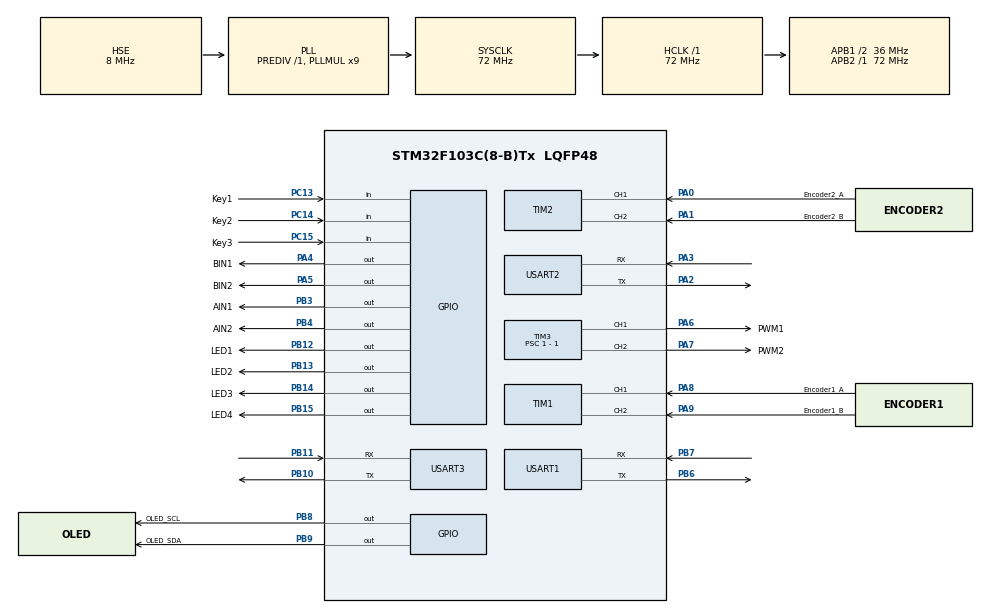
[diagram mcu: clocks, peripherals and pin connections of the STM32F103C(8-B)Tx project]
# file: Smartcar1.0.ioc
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Dma.Request0=USART3_TX
Dma.Request1=USART2_RX
Dma.USART2_RX.1.Direction=DMA_PERIPH_TO_MEMORY
Dma.USART2_RX.1.Instance=DMA1_Channel6
Dma.USART2_RX.1.MemDataAlignment=DMA_MDATAALIGN_BYTE
Dma.USART2_RX.1.MemInc=DMA_MINC_ENABLE
Dma.USART2_RX.1.Mode=DMA_CIRCULAR
Dma.USART2_RX.1.PeriphDataAlignment=DMA_PDATAALIGN_BYTE
Dma.USART2_RX.1.PeriphInc=DMA_PINC_DISABLE
Dma.USART2_RX.1.Priority=DMA_PRIORITY_VERY_HIGH
Dma.USART3_TX.0.Direction=DMA_MEMORY_TO_PERIPH
Dma.USART3_TX.0.Instance=DMA1_Channel2
Dma.USART3_TX.0.MemDataAlignment=DMA_MDATAALIGN_BYTE
Dma.USART3_TX.0.MemInc=DMA_MINC_ENABLE
Dma.USART3_TX.0.Mode=DMA_NORMAL
Dma.USART3_TX.0.PeriphDataAlignment=DMA_PDATAALIGN_BYTE
Dma.USART3_TX.0.PeriphInc=DMA_PINC_DISABLE
Dma.USART3_TX.0.Priority=DMA_PRIORITY_MEDIUM
Mcu.Family=STM32F1
Mcu.Name=STM32F103C(8-B)Tx
Mcu.Package=LQFP48
NVIC.DMA1_Channel2_IRQn=true\:0\:0\:false\:false\:true\:false\:true\:true
NVIC.DMA1_Channel6_IRQn=true\:0\:0\:false\:false\:true\:false\:true\:true
NVIC.PriorityGroup=NVIC_PRIORITYGROUP_4
NVIC.TIM4_IRQn=true\:1\:0\:true\:false\:true\:true\:true\:true
NVIC.USART1_IRQn=true\:1\:0\:true\:false\:true\:true\:true\:true
NVIC.USART2_IRQn=true\:1\:0\:true\:false\:true\:true\:true\:true
NVIC.USART3_IRQn=true\:1\:0\:true\:false\:true\:true\:true\:true
PA0-WKUP.GPIO_Label=Encoder2_A
PA0-WKUP.Signal=S_TIM2_CH1_ETR
PA1.GPIO_Label=Encoder2_B
PA1.Signal=S_TIM2_CH2
PA13.Mode=Serial_Wire
PA13.Signal=SYS_JTMS-SWDIO
PA14.Mode=Serial_Wire
PA14.Signal=SYS_JTCK-SWCLK
PA2.Mode=Asynchronous
PA2.Signal=USART2_TX
PA3.Mode=Asynchronous
PA3.Signal=USART2_RX
PA3.Stacked=true
PA4.GPIO_Label=BIN1
PA4.Signal=GPIO_Output
PA5.GPIO_Label=BIN2
PA5.Signal=GPIO_Output
PA6.GPIO_Label=PWM1
PA6.Signal=S_TIM3_CH1
PA7.GPIO_Label=PWM2
PA7.Signal=S_TIM3_CH2
PA8.GPIO_Label=Encoder1_A
PA8.Signal=S_TIM1_CH1
PA9.GPIO_Label=Encoder1_B
PA9.Signal=S_TIM1_CH2
PB10.Mode=Asynchronous
PB10.Signal=USART3_TX
PB11.Mode=Asynchronous
PB11.Signal=USART3_RX
PB12.GPIO_Label=LED1
PB12.GPIO_PuPd=GPIO_PULLUP
PB12.PinState=GPIO_PIN_SET
PB12.Signal=GPIO_Output
PB13.GPIO_Label=LED2
PB13.GPIO_PuPd=GPIO_PULLUP
PB13.PinState=GPIO_PIN_SET
PB13.Signal=GPIO_Output
PB14.GPIO_Label=LED3
PB14.GPIO_PuPd=GPIO_PULLUP
PB14.PinState=GPIO_PIN_SET
PB14.Signal=GPIO_Output
PB15.GPIO_Label=LED4
PB15.GPIO_PuPd=GPIO_PULLUP
PB15.PinState=GPIO_PIN_SET
PB15.Signal=GPIO_Output
PB3.GPIO_Label=AIN1
PB3.Signal=GPIO_Output
PB4.GPIO_Label=AIN2
PB4.Signal=GPIO_Output
PB6.Mode=Asynchronous
PB6.Signal=USART1_TX
PB7.Mode=Asynchronous
PB7.Signal=USART1_RX
PB8.GPIO_Label=OLED_SCL
PB8.GPIO_ModeDefaultOutputPP=GPIO_MODE_OUTPUT_OD
PB8.GPIO_PuPd=GPIO_PULLUP
PB8.GPIO_Speed=GPIO_SPEED_FREQ_HIGH
PB8.Signal=GPIO_Output
PB9.GPIO_Label=OLED_SDA
PB9.GPIO_ModeDefaultOutputPP=GPIO_MODE_OUTPUT_OD
PB9.GPIO_PuPd=GPIO_PULLUP
PB9.GPIO_Speed=GPIO_SPEED_FREQ_HIGH
PB9.Signal=GPIO_Output
PC13-TAMPER-RTC.GPIO_Label=Key1
PC13-TAMPER-RTC.GPIO_PuPd=GPIO_PULLUP
PC13-TAMPER-RTC.Signal=GPIO_Input
PC14-OSC32_IN.GPIO_Label=Key2
PC14-OSC32_IN.GPIO_PuPd=GPIO_PULLUP
PC14-OSC32_IN.Signal=GPIO_Input
PC15-OSC32_OUT.GPIO_Label=Key3
PC15-OSC32_OUT.GPIO_PuPd=GPIO_PULLUP
PC15-OSC32_OUT.Signal=GPIO_Input
PD0-OSC_IN.Mode=HSE-External-Oscillator
PD0-OSC_IN.Signal=RCC_OSC_IN
PD1-OSC_OUT.Mode=HSE-External-Oscillator
PD1-OSC_OUT.Signal=RCC_OSC_OUT
ProjectManager.HeapSize=0x200
ProjectManager.StackSize=0x400
ProjectManager.TargetToolchain=CMake
RCC.AHBFreq_Value=72000000
RCC.APB1CLKDivider=RCC_HCLK_DIV2
RCC.APB1Freq_Value=36000000
RCC.APB1TimFreq_Value=72000000
RCC.APB2Freq_Value=72000000
RCC.APB2TimFreq_Value=72000000
RCC.HCLKFreq_Value=72000000
RCC.PLLMUL=RCC_PLL_MUL9
RCC.PLLSourceVirtual=RCC_PLLSOURCE_HSE
RCC.SYSCLKFreq_VALUE=72000000
RCC.SYSCLKSource=RCC_SYSCLKSOURCE_PLLCLK
RCC.USBFreq_Value=72000000
SH.S_TIM1_CH1.0=TIM1_CH1,Encoder_Interface
SH.S_TIM1_CH2.0=TIM1_CH2,Encoder_Interface
SH.S_TIM2_CH1_ETR.0=TIM2_CH1,Encoder_Interface
SH.S_TIM2_CH2.0=TIM2_CH2,Encoder_Interface
SH.S_TIM3_CH1.0=TIM3_CH1,PWM Generation1 CH1
SH.S_TIM3_CH2.0=TIM3_CH2,PWM Generation2 CH2
TIM1.AutoReloadPreload=TIM_AUTORELOAD_PRELOAD_DISABLE
TIM1.EncoderMode=TIM_ENCODERMODE_TI12
TIM1.IC1Filter=6
TIM1.IC2Filter=6
TIM2.EncoderMode=TIM_ENCODERMODE_TI12
TIM2.IC1Filter=6
TIM2.IC2Filter=6
TIM3.AutoReloadPreload=TIM_AUTORELOAD_PRELOAD_ENABLE
TIM3.Channel-PWM\ Generation1\ CH1=TIM_CHANNEL_1
TIM3.Channel-PWM\ Generation2\ CH2=TIM_CHANNEL_2
TIM3.Period=7200 - 1
TIM3.Prescaler=1 - 1
TIM4.Period=10000 -1
TIM4.Prescaler=72 - 1
USART1.VirtualMode=VM_ASYNC
USART2.VirtualMode=VM_ASYNC
USART3.VirtualMode=VM_ASYNC
VP_TIM3_VS_ClockSourceINT.Mode=Internal
VP_TIM4_VS_ClockSourceINT.Mode=Internal
board=custom

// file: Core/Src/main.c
/* USER CODE BEGIN Header */
/**
  ******************************************************************************
  * @file           : main.c
  * @brief          : Main program body
  ******************************************************************************
  * @attention
  *
  * Copyright (c) 2025 STMicroelectronics.
  * All rights reserved.
  *
  * This software is licensed under terms that can be found in the LICENSE file
  * in the root directory of this software component.
  * If no LICENSE file comes with this software, it is provided AS-IS.
  *
  ******************************************************************************
  */
/* USER CODE END Header */
#include "main.h"
#include "dma.h"
#include "tim.h"
#include "usart.h"
#include "gpio.h"

/* USER CODE BEGIN Includes */
#include "OLED.h"
#include "motor.h"
#include "gimbal_driver.h"
#include "k230_uart.h"
#include "jy62.h"
#include "position_control.h"
/* USER CODE END Includes */

/* USER CODE BEGIN PV */
uint16_t Key_flag;
uint16_t Key_status;
int16_t EncoderL,EncoderR;
extern volatile float yaw_angle;
extern int speedL,speedR;
extern int pwmL,pwmR;
int16_t MV_data_1 = 0;
int16_t MV_data_2 = 0;
int16_t MV_data_3 = 0;
int16_t MV_data_4 = 0;
int16_t MV_data_5 = 0;
int16_t MV_data_6 = 0;
int16_t MV_data_7 = 0;
extern volatile uint32_t timer_flag;
extern volatile uint32_t timer_flag2;
/* USER CODE BEGIN PV */
// 这里只能定义变量，不能调用函数！
volatile float pan_output = 0.0f;
volatile float tilt_output = 0.0f;
/* USER CODE END PV */

/* USER CODE END PV */

void SystemClock_Config(void);

/* USER CODE BEGIN 0 */
int base_pwm = 1100;
int line_angle = 0;
int mission_flag = 0;
extern volatile uint8_t turn_success_flag;
extern LED_State_t led_state;
int16_t turnflag = 0;
typedef enum {
    TASK_IDLE = 0,          // 空闲状态
    TASK_FIRST_MOVE = 1,    // 第一段移动中
    TASK_TURNING = 2,       // 转向中
    TASK_SECOND_MOVE = 3,   // 第二段移动中
    TASK_COMPLETED = 4,      // 全部任务完成
    TASK_THIRD_MOVE = 5,
    TASK_FORTH_MOVE = 6
} Task_Stage_t;
Task_Stage_t task_stage =TASK_IDLE;
int turning_stable_counter = 0;
int target_turn_angle = 0;
#define TURN_STABLE_TIME 5  // N*10ms ms稳定时间

int direction_flag = 0;
/* USER CODE END 0 */

int main(void)
{

  /* MCU Configuration--------------------------------------------------------*/

  /* Reset of all peripherals, Initializes the Flash interface and the Systick. */
  HAL_Init();

  /* Configure the system clock */
  SystemClock_Config();

  /* Initialize all configured peripherals */
  MX_GPIO_Init();
  MX_DMA_Init();
  MX_TIM3_Init();
  MX_TIM1_Init();
  MX_TIM2_Init();
  MX_TIM4_Init();
  MX_USART1_UART_Init();
  MX_USART2_UART_Init();
  MX_USART3_UART_Init();
  /* USER CODE BEGIN 2 */
  JY62_UART4_Init();//初始化JY62
  OLED_Init();//OLED初始化+清屏幕
  OLED_Clear();
  position_control_init();

  HAL_Delay(500);//等待陀螺仪初始化成功
  reset_turn_flag();
  K230_UART_Init(); // 初始化 K230 UART DMA 接收
  /* USER CODE END 2 */

  /* Infinite loop */
  /* USER CODE BEGIN WHILE */
  while (1)
  {
    K230_UART_Poll(); // 处理K230数据
    if (k230_data.is_updated) {
        // 显示有符号数（适配负数
        // 当收到新数据时，才进行 PID 计算，并把结果存入全局变量
        pan_output = PID_Compute(&pan_pid, k230_data.pan_error);
        tilt_output = PID_Compute(&tilt_pid, k230_data.tilt_error);
        OLED_ShowString(0, 0, "x:", OLED_8X16);
        OLED_ShowSignedNum(16, 0, k230_data.pan_error, 3, OLED_8X16);
        OLED_ShowString(64, 0, "y:", OLED_8X16);
        OLED_ShowSignedNum(80, 0,k230_data.tilt_error, 3, OLED_8X16);
        k230_data.is_updated = 0; // 重置更新标志
        Gimbal_Run_Signed(GIMBAL_LOWER_ADDR, pan_output);
        Gimbal_Run_Signed(GIMBAL_UPPER_ADDR, tilt_output);
    }

    OLED_ShowFloatNum(0, 18, pan_output, 3,2,OLED_8X16);
    OLED_ShowFloatNum(0, 36, tilt_output, 3, 2, OLED_8X16);
    OLED_Update();//显示任何东西都需要更新OLED数据，不然无法显示

  //   if(Key_status == 1 && task_stage == TASK_IDLE){
  //       timer_flag = 0;
  //       set_target_distance(1480);  // 第一段移动
  //       task_stage = TASK_FIRST_MOVE;  // 进入第一段移动状态
  //       Key_status = 0;
  //   }
  //   if(timer_flag == 1 && MV_data_1!=0){
  //     if(direction_flag == 0){
  //       direction_flag = MV_data_1;
  //     }
  //     switch(task_stage) {
  //     case TASK_FIRST_MOVE:
  //         led_state = LED_FAST_BLINK;
  //         if(position_state == POSITION_COMPLETED){
  //             // 第一段移动完成，准备转向
  //             task_stage = TASK_TURNING;
  //             reset_turn_flag();  // 重置转向标志
  //             turning_stable_counter = 0;
  //             // 停止位置环控制
  //             position_control_enable = 0;
  //             // 设置转向目标角度
  //             if(direction_flag == 1){target_turn_angle = -60;}//左
  //             if(direction_flag == 2){target_turn_angle = -90;}//中
  //             if(direction_flag == 3){target_turn_angle = -120;}//右
  //             turnflag = 2;
  //         }
  //         break;

  //     case TASK_TURNING:
  //         // 执行转向控制
  //         led_state = LED_ON;
  //         turn_angle(target_turn_angle);
  //         // 检查转向是否成功
  //         if(turn_success_flag == 1) {
  //             // 转向成功，开始计时稳定
  //             turning_stable_counter++;

  //             // 稳定期间保持当前角度
  //             if(turning_stable_counter >= TURN_STABLE_TIME) {
  //                 // 稳定时间足够，进入下一阶段
  //                 led_state = LED_SLOW_BLINK;
  //                 switch (turnflag)
  //                 {
  //                     case 2:
  //                       task_stage = TASK_SECOND_MOVE;
  //                       if(direction_flag == 1){
  //                         line_angle = -60;
  //                         set_target_distance(1700);
  //                       }//左
  //                       if(direction_flag == 2){
  //                         line_angle = -90;
  //                         set_target_distance(1420);
  //                       }//中
  //                       if(direction_flag == 3){
  //                         line_angle = -120;
  //                         set_target_distance(1650);
  //                       }//右
  //                       break;
  //                     case 3:
  //                       HAL_Delay(5000);
  //                       task_stage = TASK_THIRD_MOVE;
  //                       if(direction_flag == 1){
  //                         line_angle = 120;
  //                         set_target_distance(1600);
  //                       }//左
  //                       if(direction_flag == 2){
  //                         line_angle = 90;
  //                         set_target_distance(1420);
  //                       }//中
  //                       if(direction_flag == 3){
  //                         line_angle = 60;
  //                         set_target_distance(1650);
  //                       }//右
  //                       break;
  //                     case 4:
  //                       task_stage = TASK_FORTH_MOVE;
  //                       line_angle = 0;
  //                       set_target_distance(-1600);
  //                       break;
  //                     default:
  //                       break;
  //                 }
  //             }
  //         } else {
  //             // 转向未成功，重置稳定计时器
  //             turning_stable_counter = 0;
  //         }
  //         break;

  //     case TASK_SECOND_MOVE:
  //         led_state = LED_ON;
  //         // 第二段移动逻辑保持不变
  //         if(position_state == POSITION_COMPLETED){
  //             task_stage = TASK_TURNING;
  //             reset_turn_flag();  // 重置转向标志
  //             turning_stable_counter = 0;
  //             // 停止位置环控制
  //             position_control_enable = 0;
  //             // 设置转向目标角度
  //             if(direction_flag == 1){target_turn_angle = 120;}//左
  //             if(direction_flag == 2){target_turn_angle = 90;}//中
  //             if(direction_flag == 3){target_turn_angle = 60;}//右
  //             turnflag = 3;
  //         }
  //         break;

  //     case TASK_THIRD_MOVE:
  //         if(position_state == POSITION_COMPLETED){
  //             task_stage = TASK_TURNING;
  //             reset_turn_flag();  // 重置转向标志
  //             turning_stable_counter = 0;
  //             // 停止位置环控制
  //             position_control_enable = 0;
  //             target_turn_angle = 0;
  //             turnflag = 4;
  //         }
  //         break;
  //       case TASK_FORTH_MOVE:
  //         if(position_state == POSITION_COMPLETED){
  //             task_stage = TASK_COMPLETED;
  //             reset_turn_flag();  // 重置转向标志
  //             turning_stable_counter = 0;
  //             // 停止位置环控制
  //             position_control_enable = 0;
  //         }
  //         break;
  //     case TASK_COMPLETED:
  //         // 任务完成
  //         break;
  //     }
  //   }

  //   // 位置环控制更新（在主循环中调用）
  //   position_control_update();
    /* USER CODE END WHILE */

  }
}

void SystemClock_Config(void)
{
  RCC_OscInitTypeDef RCC_OscInitStruct = {0};
  RCC_ClkInitTypeDef RCC_ClkInitStruct = {0};

  /** Initializes the RCC Oscillators according to the specified parameters
  * in the RCC_OscInitTypeDef structure.
  */
  RCC_OscInitStruct.OscillatorType = RCC_OSCILLATORTYPE_HSE;
  RCC_OscInitStruct.HSEState = RCC_HSE_ON;
  RCC_OscInitStruct.HSEPredivValue = RCC_HSE_PREDIV_DIV1;
  RCC_OscInitStruct.HSIState = RCC_HSI_ON;
  RCC_OscInitStruct.PLL.PLLState = RCC_PLL_ON;
  RCC_OscInitStruct.PLL.PLLSource = RCC_PLLSOURCE_HSE;
  RCC_OscInitStruct.PLL.PLLMUL = RCC_PLL_MUL9;
  if (HAL_RCC_OscConfig(&RCC_OscInitStruct) != HAL_OK)
  {
    Error_Handler();
  }

  /** Initializes the CPU, AHB and APB buses clocks
  */
  RCC_ClkInitStruct.ClockType = RCC_CLOCKTYPE_HCLK|RCC_CLOCKTYPE_SYSCLK
                              |RCC_CLOCKTYPE_PCLK1|RCC_CLOCKTYPE_PCLK2;
  RCC_ClkInitStruct.SYSCLKSource = RCC_SYSCLKSOURCE_PLLCLK;
  RCC_ClkInitStruct.AHBCLKDivider = RCC_SYSCLK_DIV1;
  RCC_ClkInitStruct.APB1CLKDivider = RCC_HCLK_DIV2;
  RCC_ClkInitStruct.APB2CLKDivider = RCC_HCLK_DIV1;

  if (HAL_RCC_ClockConfig(&RCC_ClkInitStruct, FLASH_LATENCY_2) != HAL_OK)
  {
    Error_Handler();
  }
}

void Error_Handler(void)
{
  __disable_irq();
  while (1)
  {
  }
}
